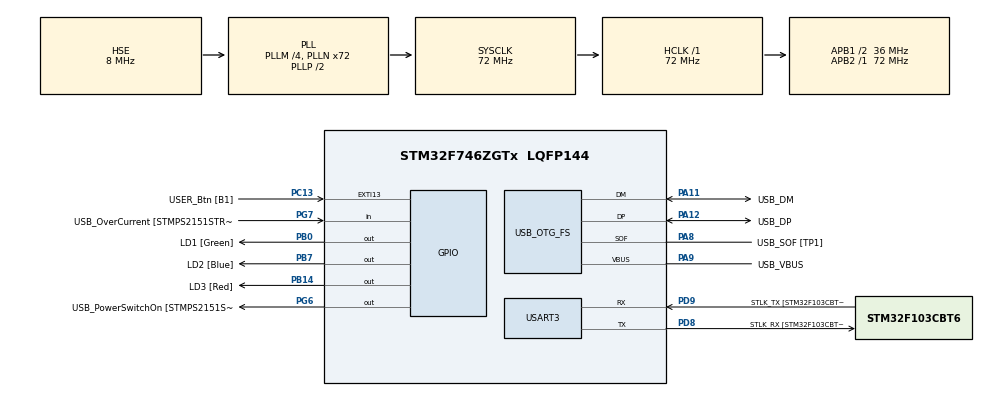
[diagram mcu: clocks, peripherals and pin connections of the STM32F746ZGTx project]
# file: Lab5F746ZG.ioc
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Mcu.Family=STM32F7
Mcu.Name=STM32F746ZGTx
Mcu.Package=LQFP144
NVIC.PriorityGroup=NVIC_PRIORITYGROUP_4
PA11.GPIO_Label=USB_DM
PA11.Mode=Device_Only
PA11.Signal=USB_OTG_FS_DM
PA12.GPIO_Label=USB_DP
PA12.Mode=Device_Only
PA12.Signal=USB_OTG_FS_DP
PA13.GPIO_Label=TMS
PA13.Mode=Serial_Wire
PA13.Signal=SYS_JTMS-SWDIO
PA14.GPIO_Label=TCK
PA14.Mode=Serial_Wire
PA14.Signal=SYS_JTCK-SWCLK
PA8.GPIO_Label=USB_SOF [TP1]
PA8.Mode=Activate_SOF_FS
PA8.Signal=USB_OTG_FS_SOF
PA9.GPIO_Label=USB_VBUS
PA9.Mode=Activate_VBUS
PA9.Signal=USB_OTG_FS_VBUS
PB0.GPIO_Label=LD1 [Green]
PB0.Signal=GPIO_Output
PB14.GPIO_Label=LD3 [Red]
PB14.Signal=GPIO_Output
PB7.GPIO_Label=LD2 [Blue]
PB7.Signal=GPIO_Output
PC13.GPIO_Label=USER_Btn [B1]
PC13.Signal=GPXTI13
PC14/OSC32_IN.Mode=LSE-External-Oscillator
PC14/OSC32_IN.Signal=RCC_OSC32_IN
PC15/OSC32_OUT.Mode=LSE-External-Oscillator
PC15/OSC32_OUT.Signal=RCC_OSC32_OUT
PD8.GPIO_Label=STLK_RX [STM32F103CBT6_PA3]
PD8.GPIO_PuPd=GPIO_PULLUP
PD8.Mode=Asynchronous
PD8.Signal=USART3_TX
PD9.GPIO_Label=STLK_TX [STM32F103CBT6_PA2]
PD9.GPIO_PuPd=GPIO_PULLUP
PD9.Mode=Asynchronous
PD9.Signal=USART3_RX
PG6.GPIO_Label=USB_PowerSwitchOn [STMPS2151STR_EN]
PG6.Signal=GPIO_Output
PG7.GPIO_Label=USB_OverCurrent [STMPS2151STR_FAULT]
PG7.Signal=GPIO_Input
PH0/OSC_IN.GPIO_Label=MCO [STM32F103CBT6_PA8]
PH0/OSC_IN.Mode=HSE-External-Clock-Source
PH0/OSC_IN.Signal=RCC_OSC_IN
PH1/OSC_OUT.Mode=HSE-External-Clock-Source
PH1/OSC_OUT.Signal=RCC_OSC_OUT
ProjectManager.HeapSize=0x200
ProjectManager.StackSize=0x400
ProjectManager.TargetToolchain=STM32CubeIDE
RCC.48MHZClocksFreq_Value=24000000
RCC.AHBFreq_Value=72000000
RCC.APB1CLKDivider=RCC_HCLK_DIV2
RCC.APB1Freq_Value=36000000
RCC.APB1TimFreq_Value=72000000
RCC.APB2Freq_Value=72000000
RCC.APB2TimFreq_Value=72000000
RCC.CortexFreq_Value=72000000
RCC.HCLKFreq_Value=72000000
RCC.HSE_VALUE=8000000
RCC.HSI_VALUE=16000000
RCC.PLLM=4
RCC.PLLMUL=RCC_PLL_MUL9
RCC.PLLN=72
RCC.PLLQ=3
RCC.PRESCALERUSB=RCC_USBCLKSOURCE_PLL_DIV1_5
RCC.SYSCLKFreq_VALUE=72000000
RCC.SYSCLKSource=RCC_SYSCLKSOURCE_PLLCLK
RCC.SYSCLKSourceVirtual=RCC_SYSCLKSOURCE_PLLCLK
RCC.USBFreq_Value=48000000
RCC.VCOOutputFreq_Value=144000000
USART3.VirtualMode-Asynchronous=VM_ASYNC
USB_OTG_FS.VirtualMode=Device_Only
board=NUCLEO-F746ZG

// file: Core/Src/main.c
/* USER CODE BEGIN Header */
/**
 ******************************************************************************
 * @file           : main.c
 * @brief          : Main program body
 ******************************************************************************
 * @attention
 *
 * Copyright (c) 2022 STMicroelectronics.
 * All rights reserved.
 *
 * This software is licensed under terms that can be found in the LICENSE file
 * in the root directory of this software component.
 * If no LICENSE file comes with this software, it is provided AS-IS.
 *
 ******************************************************************************
 */
/* USER CODE END Header */
#include "main.h"

/* USER CODE BEGIN Includes */
#include "stdio.h"
#include "string.h"
/* USER CODE END Includes */

/* USER CODE BEGIN PTD */
#ifdef __GNUC__
/* With GCC/RAISONANCE, small printf (option LD Linker->Libraries->Small printf
 set to 'Yes') calls __io_putchar() */
#define PUTCHAR_PROTOTYPE int __io_putchar(int ch)
#else
#define PUTCHAR_PROTOTYPE int fputc(int ch, FILE *f)
#endif /* __GNUC__ */
/* USER CODE END PTD */

/* USER CODE BEGIN PD */
#define START_ADDRESS 0x080C0000
/* USER CODE END PD */

UART_HandleTypeDef huart3;

PCD_HandleTypeDef hpcd_USB_OTG_FS;

void SystemClock_Config(void);
static void MX_GPIO_Init(void);
static void MX_USART3_UART_Init(void);
static void MX_USB_OTG_FS_PCD_Init(void);
/* USER CODE BEGIN PFP */
void Convert_To_Str(uint32_t *, char *);
/* USER CODE END PFP */

/* USER CODE BEGIN 0 */
uint32_t GetSector(uint32_t Address)
{
    uint32_t sector = 0;

    if (Address >= 0x08000000 && Address <= 0x08007FFF) {
        sector = FLASH_SECTOR_0;
    } else if (Address >= 0x08008000 && Address <= 0x0800FFFF) {
        sector = FLASH_SECTOR_1;
    } else if (Address >= 0x08010000 && Address <= 0x08017FFF) {
        sector = FLASH_SECTOR_2;
    } else if (Address >= 0x08018000 && Address <= 0x0801FFFF) {
        sector = FLASH_SECTOR_3;
    } else if (Address >= 0x08020000 && Address <= 0x0803FFFF) {
        sector = FLASH_SECTOR_4;
    } else if (Address >= 0x08040000 && Address <= 0x0807FFFF) {
        sector = FLASH_SECTOR_5;
    } else if (Address >= 0x08080000 && Address <= 0x080BFFFF) {
        sector = FLASH_SECTOR_6;
    } else if (Address >= 0x080C0000 && Address <= 0x080FFFFF) {
        sector = FLASH_SECTOR_7;
    } else {
        sector = 0;
    }
    return sector;
}
uint32_t Flash_Write_Data(uint32_t StartSectorAddress, uint32_t *Data, uint16_t numberofwords, uint16_t numberoflines)
{

    static FLASH_EraseInitTypeDef EraseInitStruct;
    uint32_t SECTORError;
    int sofar = 0;

    /* Unlock the Flash to enable the flash control register access *************/
    HAL_FLASH_Unlock();

    /* Erase the user Flash area */

    /* Get the number of sector to erase from 1st sector */

    uint32_t StartSector      = GetSector(StartSectorAddress);
    uint32_t EndSectorAddress = StartSectorAddress + numberofwords * 4;
    uint32_t EndSector        = GetSector(EndSectorAddress);

    /* Fill EraseInit structure*/
    EraseInitStruct.TypeErase    = FLASH_TYPEERASE_SECTORS;
    EraseInitStruct.VoltageRange = FLASH_VOLTAGE_RANGE_3;
    EraseInitStruct.Sector       = StartSector;
    EraseInitStruct.NbSectors    = (EndSector - StartSector) + 1;

    /* Note: If an erase operation in Flash memory also concerns data in the data or instruction cache,
       you have to make sure that these data are rewritten before they are accessed during code
       execution. If this cannot be done safely, it is recommended to flush the caches by setting the
       DCRST and ICRST bits in the FLASH_CR register. */
    if (HAL_FLASHEx_Erase(&EraseInitStruct, &SECTORError) != HAL_OK) {
        return HAL_FLASH_GetError();
    }

    /* Program the user Flash area word by word
      (area defined by FLASH_USER_START_ADDR and FLASH_USER_END_ADDR) ***********/
    for (int i = 0; i < numberoflines; i++) {
        while (sofar < numberofwords) {
            if (HAL_FLASH_Program(FLASH_TYPEPROGRAM_WORD, StartSectorAddress, Data[sofar]) == HAL_OK) {
                StartSectorAddress += 4; // use StartPageAddress += 2 for half word and 8 for double word
                sofar++;
            } else {
                /* Error occurred while writing data in Flash memory*/
                return HAL_FLASH_GetError();
            }
        }
        sofar = 0;
    }

    /* Lock the Flash to disable the flash control register access (recommended
       to protect the FLASH memory against possible unwanted operation) *********/
    HAL_FLASH_Lock();

    return 0;
}

void Flash_Read_Data(uint32_t StartSectorAddress, uint32_t *RxBuf, uint16_t numberofwords, uint16_t numberoflines)
{
    while (1) {
        *RxBuf = *(__IO uint32_t *)StartSectorAddress;
        StartSectorAddress += 4;
        RxBuf++;
        if (!(numberofwords--)) break;
    }
}
void Convert_To_Str(uint32_t *Data, char *Buf)
{
    int numberofbytes = ((strlen((char *)Data) / 4) + ((strlen((char *)Data) % 4) != 0)) * 4;

    for (int i = 0; i < numberofbytes; i++) {
        Buf[i] = Data[i / 4] >> (8 * (i % 4));
    }
}
/* USER CODE END 0 */

int main(void)
{

    /* MCU Configuration--------------------------------------------------------*/

    /* Reset of all peripherals, Initializes the Flash interface and the Systick. */
    HAL_Init();

    /* Configure the system clock */
    SystemClock_Config();

    /* Initialize all configured peripherals */
    MX_GPIO_Init();
    MX_USART3_UART_Init();
    MX_USB_OTG_FS_PCD_Init();
    /* USER CODE BEGIN 2 */
    uint32_t Address = START_ADDRESS;
    char *data       = "Hello, We are access Flash Memory in the course CE437\r\n";
    int numofwords   = (strlen(data) / 4) + ((strlen(data) % 4) != 0);
    Flash_Write_Data(Address, (uint32_t *)data, numofwords, 100);
    uint32_t read_data[100];
    char string[100];
    /* USER CODE END 2 */

    /* Infinite loop */
    while (1) {
        /* USER CODE BEGIN 3 */
        Address = START_ADDRESS;
        for (int i = 0; i < 100; i++) {
            Flash_Read_Data(Address, (uint32_t *)read_data, numofwords, 100);
            Address += numofwords * 4;
            Convert_To_Str(read_data, string);
            printf("Address: 0x%08lX, String: %s", Address, string);
        }
        printf("%s\n", "Done");
    }

    /* USER CODE END 3 */
}

void SystemClock_Config(void)
{
    RCC_OscInitTypeDef RCC_OscInitStruct = {0};
    RCC_ClkInitTypeDef RCC_ClkInitStruct = {0};

    /** Configure LSE Drive Capability
     */
    HAL_PWR_EnableBkUpAccess();

    /** Configure the main internal regulator output voltage
     */
    __HAL_RCC_PWR_CLK_ENABLE();
    __HAL_PWR_VOLTAGESCALING_CONFIG(PWR_REGULATOR_VOLTAGE_SCALE3);

    /** Initializes the RCC Oscillators according to the specified parameters
     * in the RCC_OscInitTypeDef structure.
     */
    RCC_OscInitStruct.OscillatorType = RCC_OSCILLATORTYPE_HSE;
    RCC_OscInitStruct.HSEState       = RCC_HSE_BYPASS;
    RCC_OscInitStruct.PLL.PLLState   = RCC_PLL_ON;
    RCC_OscInitStruct.PLL.PLLSource  = RCC_PLLSOURCE_HSE;
    RCC_OscInitStruct.PLL.PLLM       = 4;
    RCC_OscInitStruct.PLL.PLLN       = 72;
    RCC_OscInitStruct.PLL.PLLP       = RCC_PLLP_DIV2;
    RCC_OscInitStruct.PLL.PLLQ       = 3;
    if (HAL_RCC_OscConfig(&RCC_OscInitStruct) != HAL_OK) {
        Error_Handler();
    }

    /** Initializes the CPU, AHB and APB buses clocks
     */
    RCC_ClkInitStruct.ClockType      = RCC_CLOCKTYPE_HCLK | RCC_CLOCKTYPE_SYSCLK | RCC_CLOCKTYPE_PCLK1 | RCC_CLOCKTYPE_PCLK2;
    RCC_ClkInitStruct.SYSCLKSource   = RCC_SYSCLKSOURCE_PLLCLK;
    RCC_ClkInitStruct.AHBCLKDivider  = RCC_SYSCLK_DIV1;
    RCC_ClkInitStruct.APB1CLKDivider = RCC_HCLK_DIV2;
    RCC_ClkInitStruct.APB2CLKDivider = RCC_HCLK_DIV1;

    if (HAL_RCC_ClockConfig(&RCC_ClkInitStruct, FLASH_LATENCY_2) != HAL_OK) {
        Error_Handler();
    }
}

static void MX_USART3_UART_Init(void)
{

    huart3.Instance                    = USART3;
    huart3.Init.BaudRate               = 115200;
    huart3.Init.WordLength             = UART_WORDLENGTH_8B;
    huart3.Init.StopBits               = UART_STOPBITS_1;
    huart3.Init.Parity                 = UART_PARITY_NONE;
    huart3.Init.Mode                   = UART_MODE_TX_RX;
    huart3.Init.HwFlowCtl              = UART_HWCONTROL_NONE;
    huart3.Init.OverSampling           = UART_OVERSAMPLING_16;
    huart3.Init.OneBitSampling         = UART_ONE_BIT_SAMPLE_DISABLE;
    huart3.AdvancedInit.AdvFeatureInit = UART_ADVFEATURE_NO_INIT;
    if (HAL_UART_Init(&huart3) != HAL_OK) {
        Error_Handler();
    }
}

static void MX_USB_OTG_FS_PCD_Init(void)
{

    hpcd_USB_OTG_FS.Instance                 = USB_OTG_FS;
    hpcd_USB_OTG_FS.Init.dev_endpoints       = 6;
    hpcd_USB_OTG_FS.Init.speed               = PCD_SPEED_FULL;
    hpcd_USB_OTG_FS.Init.dma_enable          = DISABLE;
    hpcd_USB_OTG_FS.Init.phy_itface          = PCD_PHY_EMBEDDED;
    hpcd_USB_OTG_FS.Init.Sof_enable          = ENABLE;
    hpcd_USB_OTG_FS.Init.low_power_enable    = DISABLE;
    hpcd_USB_OTG_FS.Init.lpm_enable          = DISABLE;
    hpcd_USB_OTG_FS.Init.vbus_sensing_enable = ENABLE;
    hpcd_USB_OTG_FS.Init.use_dedicated_ep1   = DISABLE;
    if (HAL_PCD_Init(&hpcd_USB_OTG_FS) != HAL_OK) {
        Error_Handler();
    }
}

static void MX_GPIO_Init(void)
{
    GPIO_InitTypeDef GPIO_InitStruct = {0};

    /* GPIO Ports Clock Enable */
    __HAL_RCC_GPIOC_CLK_ENABLE();
    __HAL_RCC_GPIOH_CLK_ENABLE();
    __HAL_RCC_GPIOB_CLK_ENABLE();
    __HAL_RCC_GPIOD_CLK_ENABLE();
    __HAL_RCC_GPIOG_CLK_ENABLE();
    __HAL_RCC_GPIOA_CLK_ENABLE();

    /*Configure GPIO pin Output Level */
    HAL_GPIO_WritePin(GPIOB, LD1_Pin | LD3_Pin | LD2_Pin, GPIO_PIN_RESET);

    /*Configure GPIO pin Output Level */
    HAL_GPIO_WritePin(USB_PowerSwitchOn_GPIO_Port, USB_PowerSwitchOn_Pin, GPIO_PIN_RESET);

    /*Configure GPIO pin : USER_Btn_Pin */
    GPIO_InitStruct.Pin  = USER_Btn_Pin;
    GPIO_InitStruct.Mode = GPIO_MODE_IT_RISING;
    GPIO_InitStruct.Pull = GPIO_NOPULL;
    HAL_GPIO_Init(USER_Btn_GPIO_Port, &GPIO_InitStruct);

    /*Configure GPIO pins : LD1_Pin LD3_Pin LD2_Pin */
    GPIO_InitStruct.Pin   = LD1_Pin | LD3_Pin | LD2_Pin;
    GPIO_InitStruct.Mode  = GPIO_MODE_OUTPUT_PP;
    GPIO_InitStruct.Pull  = GPIO_NOPULL;
    GPIO_InitStruct.Speed = GPIO_SPEED_FREQ_LOW;
    HAL_GPIO_Init(GPIOB, &GPIO_InitStruct);

    /*Configure GPIO pin : USB_PowerSwitchOn_Pin */
    GPIO_InitStruct.Pin   = USB_PowerSwitchOn_Pin;
    GPIO_InitStruct.Mode  = GPIO_MODE_OUTPUT_PP;
    GPIO_InitStruct.Pull  = GPIO_NOPULL;
    GPIO_InitStruct.Speed = GPIO_SPEED_FREQ_LOW;
    HAL_GPIO_Init(USB_PowerSwitchOn_GPIO_Port, &GPIO_InitStruct);

    /*Configure GPIO pin : USB_OverCurrent_Pin */
    GPIO_InitStruct.Pin  = USB_OverCurrent_Pin;
    GPIO_InitStruct.Mode = GPIO_MODE_INPUT;
    GPIO_InitStruct.Pull = GPIO_NOPULL;
    HAL_GPIO_Init(USB_OverCurrent_GPIO_Port, &GPIO_InitStruct);
}

/* USER CODE BEGIN 4 */
PUTCHAR_PROTOTYPE
{
    HAL_UART_Transmit(&huart3, (uint8_t *)&ch, sizeof(ch), HAL_MAX_DELAY);
    return ch;
}
/* USER CODE END 4 */

void Error_Handler(void)
{
    __disable_irq();
    while (1) {
    }
}
